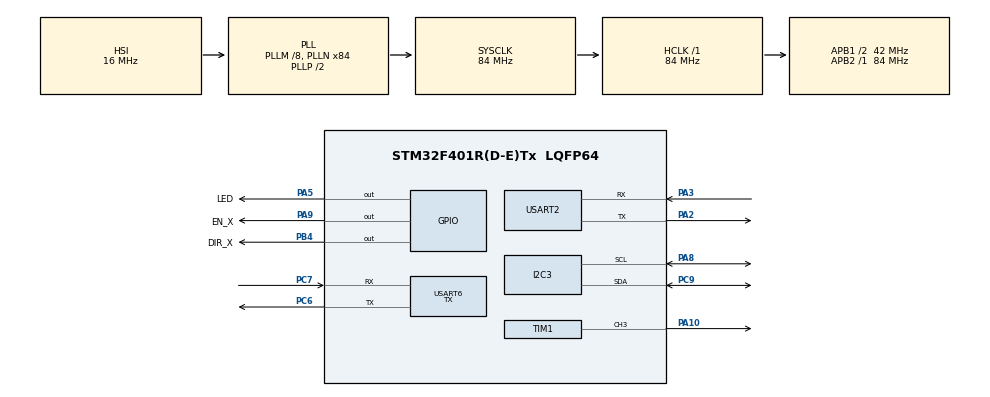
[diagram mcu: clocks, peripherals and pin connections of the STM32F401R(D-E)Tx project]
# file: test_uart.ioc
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Dma.Request0=USART2_RX
Dma.USART2_RX.0.Direction=DMA_PERIPH_TO_MEMORY
Dma.USART2_RX.0.FIFOMode=DMA_FIFOMODE_DISABLE
Dma.USART2_RX.0.Instance=DMA1_Stream5
Dma.USART2_RX.0.MemDataAlignment=DMA_MDATAALIGN_BYTE
Dma.USART2_RX.0.MemInc=DMA_MINC_ENABLE
Dma.USART2_RX.0.Mode=DMA_CIRCULAR
Dma.USART2_RX.0.PeriphDataAlignment=DMA_PDATAALIGN_BYTE
Dma.USART2_RX.0.PeriphInc=DMA_PINC_DISABLE
Dma.USART2_RX.0.Priority=DMA_PRIORITY_HIGH
FREERTOS.Tasks01=defaultTask,0,128,StartDefaultTask,Default,NULL,Dynamic,NULL,NULL;STEPPER_task,0,128,Start_STEPPER_task,Default,NULL,Dynamic,NULL,NULL;ENCODER_task,0,128,Start_ENCODER_task,Default,NULL,Dynamic,NULL,NULL
FREERTOS.configUSE_NEWLIB_REENTRANT=1
Mcu.Family=STM32F4
Mcu.Name=STM32F401R(D-E)Tx
Mcu.Package=LQFP64
NVIC.DMA1_Stream5_IRQn=true\:5\:0\:false\:false\:true\:true\:false\:true\:true
NVIC.PriorityGroup=NVIC_PRIORITYGROUP_4
NVIC.TIM1_CC_IRQn=true\:5\:0\:false\:false\:true\:true\:true\:true\:true
NVIC.TIM1_TRG_COM_TIM11_IRQn=true\:5\:0\:false\:false\:true\:false\:false\:true\:true
NVIC.TimeBase=TIM1_TRG_COM_TIM11_IRQn
NVIC.TimeBaseIP=TIM11
NVIC.USART2_IRQn=true\:5\:0\:false\:false\:true\:true\:true\:true\:true
PA10.GPIO_Speed=GPIO_SPEED_FREQ_HIGH
PA10.Signal=S_TIM1_CH3
PA2.Mode=Asynchronous
PA2.Signal=USART2_TX
PA3.Mode=Asynchronous
PA3.Signal=USART2_RX
PA5.GPIO_Label=LED
PA5.Signal=GPIO_Output
PA8.GPIO_Pu=GPIO_PULLUP
PA8.Mode=I2C
PA8.Signal=I2C3_SCL
PA9.GPIO_Label=EN_X
PA9.Signal=GPIO_Output
PB4.GPIO_Label=DIR_X
PB4.Signal=GPIO_Output
PC6.Mode=Asynchronous
PC6.Signal=USART6_TX
PC7.Mode=Asynchronous
PC7.Signal=USART6_RX
PC9.GPIO_Pu=GPIO_PULLUP
PC9.Mode=I2C
PC9.Signal=I2C3_SDA
ProjectManager.HeapSize=0x200
ProjectManager.StackSize=0x400
ProjectManager.TargetToolchain=STM32CubeIDE
RCC.48MHZClocksFreq_Value=42000000
RCC.AHBFreq_Value=84000000
RCC.APB1CLKDivider=RCC_HCLK_DIV2
RCC.APB1Freq_Value=42000000
RCC.APB1TimFreq_Value=84000000
RCC.APB2Freq_Value=84000000
RCC.APB2TimFreq_Value=84000000
RCC.CortexFreq_Value=84000000
RCC.HCLKFreq_Value=84000000
RCC.HSE_VALUE=25000000
RCC.HSI_VALUE=16000000
RCC.LSE_VALUE=32768
RCC.PLLM=8
RCC.PLLN=84
RCC.SYSCLKFreq_VALUE=84000000
RCC.SYSCLKSource=RCC_SYSCLKSOURCE_PLLCLK
RCC.VCOOutputFreq_Value=168000000
SH.S_TIM1_CH3.0=TIM1_CH3,PWM Generation3 CH3
TIM1.AutoReloadPreload=TIM_AUTORELOAD_PRELOAD_ENABLE
TIM1.Channel-PWM\ Generation3\ CH3=TIM_CHANNEL_3
TIM1.OCFastMode_PWM-PWM\ Generation3\ CH3=TIM_OCFAST_ENABLE
TIM1.Prescaler=84
TIM1.Pulse-PWM\ Generation3\ CH3=32767
USART2.VirtualMode=VM_ASYNC
USART6.Mode=MODE_TX
USART6.VirtualMode=VM_ASYNC
VP_FREERTOS_VS_CMSIS_V1.Mode=CMSIS_V1
VP_SYS_VS_tim11.Mode=TIM11
VP_TIM1_VS_ClockSourceINT.Mode=Internal
board=custom

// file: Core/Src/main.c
/* USER CODE BEGIN Header */
/**
  ******************************************************************************
  * @file           : main.c
  * @brief          : Main program body
  ******************************************************************************
  * @attention
  *
  * Copyright (c) 2025 STMicroelectronics.
  * All rights reserved.
  *
  * This software is licensed under terms that can be found in the LICENSE file
  * in the root directory of this software component.
  * If no LICENSE file comes with this software, it is provided AS-IS.
  *
  ******************************************************************************
  */
/* USER CODE END Header */
#include "main.h"
#include "cmsis_os.h"
#include "dma.h"
#include "i2c.h"
#include "tim.h"
#include "usart.h"
#include "gpio.h"

/* USER CODE BEGIN Includes */
#include <stdarg.h>
#include <stdio.h>
#include <ctype.h>
#include "stdlib.h"
#include "string.h"
#include "stepper.h"
#include "gcode_rx.h"
/* USER CODE END Includes */

/* USER CODE BEGIN PV */
extern uint8_t usart2_rx_buf[RX_BUF_SIZE];

int _write(int file, char *ptr, int len)
{
    HAL_UART_Transmit(&huart6, (uint8_t*)ptr, len, HAL_MAX_DELAY);
    return len;
}

void printf2(const char *fmt, ...)
{
    char buffer[256];
    va_list args;
    va_start(args, fmt);
    int len = vsnprintf(buffer, sizeof(buffer), fmt, args);
    va_end(args);

    if (len > 0) {
        HAL_UART_Transmit(&huart2, (uint8_t*)buffer, len, HAL_MAX_DELAY);
    }
}

/* USER CODE END PV */

void SystemClock_Config(void);
void MX_FREERTOS_Init(void);
/* USER CODE BEGIN PFP */
//void print_pos()
//{
//	hope = (int16_t)((float)motor.currPos)*ENCODER_RESOLUTION/FULL_REVOLUTION;
//	hope = hope%ENCODER_RESOLUTION;
//	if(hope < 0)
//	{
//		hope += ENCODER_RESOLUTION;
//	}
//	printf("                             rot %d\r", rotations);
//	printf("                    enc %u\r", raw);
//	printf("          hope %u\r", hope);
//    printf("pos %ld\r\n", motor.currPos);
//}

/* USER CODE END PFP */

int main(void)
{

  /* MCU Configuration--------------------------------------------------------*/

  /* Reset of all peripherals, Initializes the Flash interface and the Systick. */
  HAL_Init();

  /* Configure the system clock */
  SystemClock_Config();

  /* Initialize all configured peripherals */
  MX_GPIO_Init();
  MX_DMA_Init();
  MX_USART2_UART_Init();
  MX_I2C3_Init();
  MX_TIM1_Init();
  MX_USART6_UART_Init();
  /* USER CODE BEGIN 2 */
  printf("\rSTART\r\n");
  printf2("UART_2_START\r\n");
  /* USER CODE END 2 */

  /* Call init function for freertos objects (in cmsis_os2.c) */
  MX_FREERTOS_Init();

  /* Start scheduler */
  osKernelStart();

  /* We should never get here as control is now taken by the scheduler */

  /* Infinite loop */
  while (1)
  {

  }
}

void SystemClock_Config(void)
{
  RCC_OscInitTypeDef RCC_OscInitStruct = {0};
  RCC_ClkInitTypeDef RCC_ClkInitStruct = {0};

  /** Configure the main internal regulator output voltage
  */
  __HAL_RCC_PWR_CLK_ENABLE();
  __HAL_PWR_VOLTAGESCALING_CONFIG(PWR_REGULATOR_VOLTAGE_SCALE2);

  /** Initializes the RCC Oscillators according to the specified parameters
  * in the RCC_OscInitTypeDef structure.
  */
  RCC_OscInitStruct.OscillatorType = RCC_OSCILLATORTYPE_HSI;
  RCC_OscInitStruct.HSIState = RCC_HSI_ON;
  RCC_OscInitStruct.HSICalibrationValue = RCC_HSICALIBRATION_DEFAULT;
  RCC_OscInitStruct.PLL.PLLState = RCC_PLL_ON;
  RCC_OscInitStruct.PLL.PLLSource = RCC_PLLSOURCE_HSI;
  RCC_OscInitStruct.PLL.PLLM = 8;
  RCC_OscInitStruct.PLL.PLLN = 84;
  RCC_OscInitStruct.PLL.PLLP = RCC_PLLP_DIV2;
  RCC_OscInitStruct.PLL.PLLQ = 4;
  if (HAL_RCC_OscConfig(&RCC_OscInitStruct) != HAL_OK)
  {
    Error_Handler();
  }

  /** Initializes the CPU, AHB and APB buses clocks
  */
  RCC_ClkInitStruct.ClockType = RCC_CLOCKTYPE_HCLK|RCC_CLOCKTYPE_SYSCLK
                              |RCC_CLOCKTYPE_PCLK1|RCC_CLOCKTYPE_PCLK2;
  RCC_ClkInitStruct.SYSCLKSource = RCC_SYSCLKSOURCE_PLLCLK;
  RCC_ClkInitStruct.AHBCLKDivider = RCC_SYSCLK_DIV1;
  RCC_ClkInitStruct.APB1CLKDivider = RCC_HCLK_DIV2;
  RCC_ClkInitStruct.APB2CLKDivider = RCC_HCLK_DIV1;

  if (HAL_RCC_ClockConfig(&RCC_ClkInitStruct, FLASH_LATENCY_2) != HAL_OK)
  {
    Error_Handler();
  }
}

void HAL_TIM_PeriodElapsedCallback(TIM_HandleTypeDef *htim)
{
  if (htim->Instance == TIM11) {
    HAL_IncTick();
  }
}

void Error_Handler(void)
{
  __disable_irq();
  while (1)
  {
  }
}

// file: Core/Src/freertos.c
/* USER CODE BEGIN Header */
/**
  ******************************************************************************
  * File Name          : freertos.c
  * Description        : Code for freertos applications
  ******************************************************************************
  * @attention
  *
  * Copyright (c) 2025 STMicroelectronics.
  * All rights reserved.
  *
  * This software is licensed under terms that can be found in the LICENSE file
  * in the root directory of this software component.
  * If no LICENSE file comes with this software, it is provided AS-IS.
  *
  ******************************************************************************
  */
/* USER CODE END Header */

#include "FreeRTOS.h"
#include "task.h"
#include "main.h"
#include "cmsis_os.h"

/* USER CODE BEGIN Includes */
#include <stdint.h>
#include <stdio.h>
#include <stdbool.h>
#include <ctype.h>
#include <stdlib.h>
#include <string.h>
#include "stepper.h"
#include "gcode_rx.h"
#include "usart.h"
#include "tim.h"
#include "as5600_hal.h"
/* USER CODE END Includes */

/* USER CODE BEGIN Variables */
uint16_t raw;
volatile uint16_t hope;
extern volatile int16_t rotations;
float angle;

Stepper_t motor;
uint8_t c;
static char line[96];
static uint8_t idx = 0;

static float current_x = 0.0f;
static float feedrate = 1000.0f;
static bool absolute_mode = true;  // G90 = true, G91 = false
uint8_t usart2_rx_buf[RX_BUF_SIZE];

/* USER CODE END Variables */
osThreadId defaultTaskHandle;
osThreadId STEPPER_taskHandle;
osThreadId ENCODER_taskHandle;

/* USER CODE BEGIN FunctionPrototypes */
void print_pos()
{
	hope = (int16_t)((float)motor.currPos)*ENCODER_RESOLUTION/FULL_REVOLUTION;
	hope = hope%ENCODER_RESOLUTION;
	if(hope < 0)
	{
		hope += ENCODER_RESOLUTION;
	}
	printf("rot %d  ", rotations);
	printf("enc %u  ", raw);
	printf("hope %u  ", hope);
    printf("pos %ld\n", motor.currPos);
}

/* USER CODE END FunctionPrototypes */

void StartDefaultTask(void const * argument);
void Start_STEPPER_task(void const * argument);
void Start_ENCODER_task(void const * argument);

void MX_FREERTOS_Init(void); /* (MISRA C 2004 rule 8.1) */

/* GetIdleTaskMemory prototype (linked to static allocation support) */
void vApplicationGetIdleTaskMemory( StaticTask_t **ppxIdleTaskTCBBuffer, StackType_t **ppxIdleTaskStackBuffer, uint32_t *pulIdleTaskStackSize );

/* USER CODE BEGIN GET_IDLE_TASK_MEMORY */
static StaticTask_t xIdleTaskTCBBuffer;
static StackType_t xIdleStack[configMINIMAL_STACK_SIZE];

void vApplicationGetIdleTaskMemory( StaticTask_t **ppxIdleTaskTCBBuffer, StackType_t **ppxIdleTaskStackBuffer, uint32_t *pulIdleTaskStackSize )
{
  *ppxIdleTaskTCBBuffer = &xIdleTaskTCBBuffer;
  *ppxIdleTaskStackBuffer = &xIdleStack[0];
  *pulIdleTaskStackSize = configMINIMAL_STACK_SIZE;
  /* place for user code */
}
/* USER CODE END GET_IDLE_TASK_MEMORY */

void MX_FREERTOS_Init(void) {

  /* Create the thread(s) */
  /* definition and creation of defaultTask */
  osThreadDef(defaultTask, StartDefaultTask, osPriorityNormal, 0, 128);
  defaultTaskHandle = osThreadCreate(osThread(defaultTask), NULL);

  /* definition and creation of STEPPER_task */
  osThreadDef(STEPPER_task, Start_STEPPER_task, osPriorityNormal, 0, 128);
  STEPPER_taskHandle = osThreadCreate(osThread(STEPPER_task), NULL);

  /* definition and creation of ENCODER_task */
  osThreadDef(ENCODER_task, Start_ENCODER_task, osPriorityNormal, 0, 128);
  ENCODER_taskHandle = osThreadCreate(osThread(ENCODER_task), NULL);

}

void StartDefaultTask(void const * argument)
{
  for(;;)
  {
    osDelay(1);
  }
}

void Start_STEPPER_task(void const * argument)
{
  /* USER CODE BEGIN Start_STEPPER_task */
	void wait_for_stop()
	{
		while(motor.moving){
		  osDelay(10);
		}
	}

	int32_t get_diff()
	{
		int32_t diff = (motor.targetPos - motor.currPos);
		if(diff < 0){diff = -diff;}
		return diff;
	}

	void goto_enc(int32_t target_pos)
	{
		motor.targetPos = target_pos;
		Stepper_get_enc_pos(&motor, &raw);
		int32_t diff = get_diff();
		while(diff > 2)
		{
			print_pos();
			Stepper_MoveTo(&motor, target_pos);
			wait_for_stop();
			print_pos();
			Stepper_get_enc_pos(&motor, &raw);
			print_pos();
			diff = get_diff();
		}
	}

	void process_gcode_line(char *line)
		{
		    char *p = line;

		    /* Strip comments */
		    for (char *c = line; *c; c++)
		    {
		        if (*c == ';' || *c == '(')
		        {
		            *c = '\0';
		            break;
		        }
		    }

		    while (isspace((unsigned char)*p)) p++;
		    if (*p == '\0')
		        return;

		    int gcode = -1;
		    bool has_x = false;
		    bool has_f = false;
		    float x_value = 0.0f;
		    float f_value = 0.0f;

		    /* Token parsing */
		    while (*p)
		    {
		        if (*p == 'G' || *p == 'g')
		        {
		            p++;
		            gcode = strtol(p, &p, 10);
		        }
		        else if (*p == 'X' || *p == 'x')
		        {
		            p++;
		            x_value = strtof(p, &p);
		            has_x = true;
		        }
		        else if (*p == 'F' || *p == 'f')
		        {
		            p++;
		            f_value = strtof(p, &p);
		            has_f = true;
		        }
		        else
		        {
		            p++;
		        }
		    }

		    /* Feedrate is modal */
		    if (has_f && f_value > 0.0f)
		        feedrate = f_value;

		    switch (gcode)
		    {
		        case 0: /* G0 */
		        case 1: /* G1 */
		            if (has_x)
		            {
		                float target = absolute_mode ? x_value : (current_x + x_value);
		                motor.maxSpeed = feedrate;
	//	                motion_move_x(target, feedrate);
		                goto_enc((int32_t)target);
		                current_x = target;
		            }
		            break;

		        case 28: /* G28 */
		            goto_enc(0);
		            current_x = 0.0f;
		            break;

		        case 90: /* G90 */
		            absolute_mode = true;
		            break;

		        case 91: /* G91 */
		            absolute_mode = false;
		            break;

		        default:
		            break;
		    }
		}

	HAL_UARTEx_ReceiveToIdle_DMA(&huart2, usart2_rx_buf, RX_BUF_SIZE);

	/* Disable half-transfer interrupt */
    __HAL_DMA_DISABLE_IT(huart2.hdmarx, DMA_IT_HT);

	motor.DIR_Port  = GPIOB;
	motor.DIR_Pin   = GPIO_PIN_4;
	motor.EN_Port   = GPIOA;
	motor.EN_Pin    = GPIO_PIN_9;
	motor.htim      = &htim1;
	motor.tim_channel = TIM_CHANNEL_3;

	// INIT MOTOR
	Stepper_Init(&motor);
	// MOTOR TIMER
	HAL_TIM_Base_Start_IT(&htim1);
	Stepper_SetSpeed(&motor, 1000.0f);
	Stepper_SetAcceleration(&motor, 1000.0f, 1000.0f);
	raw = 5000;
	osDelay(100);
	print_pos();

	goto_enc(0);
	rotations = 0;
	/* Infinite loop */
  for(;;)
  {
//	  goto_enc(FULL_REVOLUTION*5/4);
//	  osDelay(1000);
//
//	  goto_enc(0);
//	  osDelay(1000);
//
//	  goto_enc(-FULL_REVOLUTION/8);
//	  osDelay(1000);
	  while (gcode_rx_get_char(&c))
	  {
	      if (c == '\n')
	      {
	          line[idx] = 0;
	          wait_for_stop();
	          process_gcode_line(line);
	          idx = 0;
	      }
	      else if (idx < sizeof(line) - 1)
	      {
	          line[idx++] = c;
	      }
	  }
	  osDelay(10);

  }
  /* USER CODE END Start_STEPPER_task */
}

void Start_ENCODER_task(void const * argument)
{
  /* USER CODE BEGIN Start_ENCODER_task */
  /* Infinite loop */
	  for(;;)
	  {
	//	  AS5600_ReadRaw12(&raw);
		  uint16_t old_raw = raw;
		  if (AS5600_ReadRaw12(&raw))
		  {
	//		  printf("%u\r\n", raw);  // wypisz samą wartość surową
	////		  printf("%f\r\n", raw2angle(raw));
			  if(raw < 1000 && old_raw > 3000)
			  {
				  rotations = rotations + 1;
			  }
			  if(old_raw < 1000 && raw > 3000)
			  {
				  rotations = rotations - 1;
			  }
		  }
		  else
		  {
			  printf("error\r\n");
		  }
		  osDelay(20);
	  }
  /* USER CODE END Start_ENCODER_task */
}

/* USER CODE BEGIN Application */
void HAL_TIM_PWM_PulseFinishedCallback(TIM_HandleTypeDef *htim)
{
    if (htim == motor.htim) {
        Stepper_Tick(&motor);
    }
}

void HAL_UARTEx_RxEventCallback(UART_HandleTypeDef *huart, uint16_t size)
{
    if (huart->Instance == USART2)
    {
        gcode_rx_push(usart2_rx_buf, size);
        HAL_UARTEx_ReceiveToIdle_DMA(&huart2, usart2_rx_buf, RX_BUF_SIZE);
        HAL_UART_Transmit(&huart6, usart2_rx_buf, size, HAL_MAX_DELAY);
    }
}
/* USER CODE END Application */
